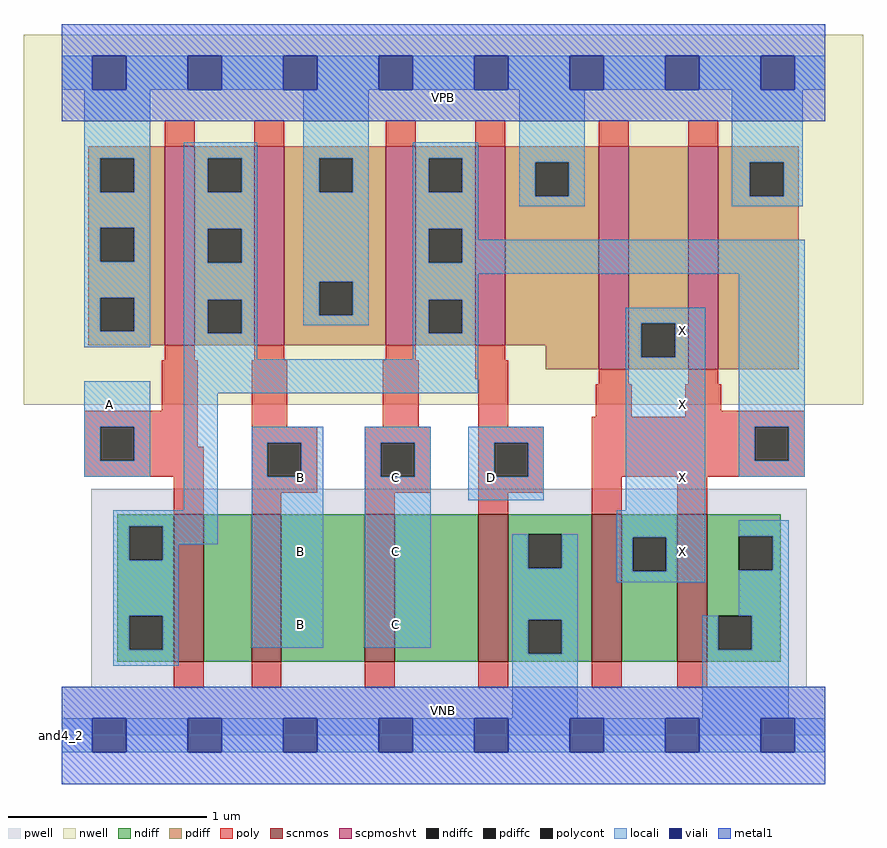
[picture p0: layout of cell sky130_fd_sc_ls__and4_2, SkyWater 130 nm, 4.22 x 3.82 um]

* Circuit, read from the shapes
.subckt sky130_fd_sc_ls__and4_2 A B C D VGND VNB VPB VPWR X
XM1 n1 A n2 VNB sky130_fd_pr__nfet_01v8 w=0.74 l=0.15
XM2 n3 B n1 VNB sky130_fd_pr__nfet_01v8 w=0.74 l=0.15
XM3 n4 C n3 VNB sky130_fd_pr__nfet_01v8 w=0.74 l=0.15
XM4 VGND D n4 VNB sky130_fd_pr__nfet_01v8 w=0.74 l=0.15
XM5 X n2 VGND VNB sky130_fd_pr__nfet_01v8 w=0.74 l=0.15 m=2
XM6 n2 A VPWR VPB sky130_fd_pr__pfet_01v8_hvt w=1 l=0.15
XM7 VPWR B n2 VPB sky130_fd_pr__pfet_01v8_hvt w=1 l=0.15
XM8 n2 C VPWR VPB sky130_fd_pr__pfet_01v8_hvt w=1 l=0.15
XM9 VPWR D n2 VPB sky130_fd_pr__pfet_01v8_hvt w=1 l=0.15
XM10 X n2 VPWR VPB sky130_fd_pr__pfet_01v8_hvt w=1.12 l=0.15 m=2
.ends

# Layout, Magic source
magic
tech sky130A
magscale 1 2
<< nwell >>
rect -38 332 806 704
<< pwell >>
rect 30 49 749 248
rect 0 0 768 49
<< scnmos >>
rect 113 74 143 222
rect 191 74 221 222
rect 305 74 335 222
rect 419 74 449 222
rect 533 74 563 222
rect 619 74 649 222
<< scpmoshvt >>
rect 104 392 134 592
rect 194 392 224 592
rect 326 392 356 592
rect 416 392 446 592
rect 540 368 570 592
rect 630 368 660 592
<< ndiff >>
rect 56 210 113 222
rect 56 176 68 210
rect 102 176 113 210
rect 56 120 113 176
rect 56 86 68 120
rect 102 86 113 120
rect 56 74 113 86
rect 143 74 191 222
rect 221 74 305 222
rect 335 74 419 222
rect 449 202 533 222
rect 449 168 469 202
rect 503 168 533 202
rect 449 116 533 168
rect 449 82 469 116
rect 503 82 533 116
rect 449 74 533 82
rect 563 199 619 222
rect 563 165 574 199
rect 608 165 619 199
rect 563 74 619 165
rect 649 200 723 222
rect 649 166 681 200
rect 715 166 723 200
rect 649 120 723 166
rect 649 86 660 120
rect 694 86 723 120
rect 649 74 723 86
<< pdiff >>
rect 27 580 104 592
rect 27 546 39 580
rect 73 546 104 580
rect 27 510 104 546
rect 27 476 39 510
rect 73 476 104 510
rect 27 440 104 476
rect 27 406 39 440
rect 73 406 104 440
rect 27 392 104 406
rect 134 580 194 592
rect 134 546 147 580
rect 181 546 194 580
rect 134 509 194 546
rect 134 475 147 509
rect 181 475 194 509
rect 134 438 194 475
rect 134 404 147 438
rect 181 404 194 438
rect 134 392 194 404
rect 224 580 326 592
rect 224 546 259 580
rect 293 546 326 580
rect 224 456 326 546
rect 224 422 259 456
rect 293 422 326 456
rect 224 392 326 422
rect 356 580 416 592
rect 356 546 369 580
rect 403 546 416 580
rect 356 509 416 546
rect 356 475 369 509
rect 403 475 416 509
rect 356 438 416 475
rect 356 404 369 438
rect 403 404 416 438
rect 356 392 416 404
rect 446 576 540 592
rect 446 542 476 576
rect 510 542 540 576
rect 446 392 540 542
rect 487 368 540 392
rect 570 414 630 592
rect 570 380 583 414
rect 617 380 630 414
rect 570 368 630 380
rect 660 576 741 592
rect 660 542 692 576
rect 726 542 741 576
rect 660 368 741 542
<< ndiffc >>
rect 68 176 102 210
rect 68 86 102 120
rect 469 168 503 202
rect 469 82 503 116
rect 574 165 608 199
rect 681 166 715 200
rect 660 86 694 120
<< pdiffc >>
rect 39 546 73 580
rect 39 476 73 510
rect 39 406 73 440
rect 147 546 181 580
rect 147 475 181 509
rect 147 404 181 438
rect 259 546 293 580
rect 259 422 293 456
rect 369 546 403 580
rect 369 475 403 509
rect 369 404 403 438
rect 476 542 510 576
rect 583 380 617 414
rect 692 542 726 576
<< poly >>
rect 104 592 134 618
rect 194 592 224 618
rect 326 592 356 618
rect 416 592 446 618
rect 540 592 570 618
rect 630 592 660 618
rect 104 377 134 392
rect 194 377 224 392
rect 326 377 356 392
rect 416 377 446 392
rect 101 326 137 377
rect 23 310 137 326
rect 23 276 39 310
rect 73 290 137 310
rect 191 310 227 377
rect 323 310 359 377
rect 416 358 449 377
rect 419 310 449 358
rect 540 353 570 368
rect 630 353 660 368
rect 537 320 573 353
rect 627 326 663 353
rect 627 320 747 326
rect 533 310 747 320
rect 191 294 257 310
rect 73 276 143 290
rect 23 260 143 276
rect 113 222 143 260
rect 191 260 207 294
rect 241 260 257 294
rect 191 244 257 260
rect 305 294 371 310
rect 305 260 321 294
rect 355 260 371 294
rect 305 244 371 260
rect 419 294 485 310
rect 419 260 435 294
rect 469 260 485 294
rect 419 244 485 260
rect 533 276 697 310
rect 731 276 747 310
rect 533 260 747 276
rect 191 222 221 244
rect 305 222 335 244
rect 419 222 449 244
rect 533 222 563 260
rect 619 222 649 260
rect 113 48 143 74
rect 191 48 221 74
rect 305 48 335 74
rect 419 48 449 74
rect 533 48 563 74
rect 619 48 649 74
<< polycont >>
rect 39 276 73 310
rect 207 260 241 294
rect 321 260 355 294
rect 435 260 469 294
rect 697 276 731 310
<< locali >>
rect 0 649 31 683
rect 65 649 127 683
rect 161 649 223 683
rect 257 649 319 683
rect 353 649 415 683
rect 449 649 511 683
rect 545 649 607 683
rect 641 649 703 683
rect 737 649 768 683
rect 23 580 89 649
rect 23 546 39 580
rect 73 546 89 580
rect 23 510 89 546
rect 23 476 39 510
rect 73 476 89 510
rect 23 440 89 476
rect 23 406 39 440
rect 73 406 89 440
rect 23 390 89 406
rect 123 580 197 596
rect 123 546 147 580
rect 181 546 197 580
rect 123 509 197 546
rect 123 475 147 509
rect 181 475 197 509
rect 123 438 197 475
rect 123 404 147 438
rect 181 404 197 438
rect 243 580 309 649
rect 243 546 259 580
rect 293 546 309 580
rect 243 456 309 546
rect 243 422 259 456
rect 293 422 309 456
rect 243 412 309 422
rect 353 580 419 596
rect 353 546 369 580
rect 403 546 419 580
rect 353 509 419 546
rect 460 576 526 649
rect 460 542 476 576
rect 510 542 526 576
rect 460 532 526 542
rect 674 576 745 649
rect 674 542 692 576
rect 726 542 745 576
rect 674 532 745 542
rect 353 475 369 509
rect 403 498 419 509
rect 403 475 747 498
rect 353 464 747 475
rect 353 438 419 464
rect 123 378 197 404
rect 353 404 369 438
rect 403 404 419 438
rect 353 378 419 404
rect 23 310 89 356
rect 23 276 39 310
rect 73 276 89 310
rect 23 260 89 276
rect 123 344 419 378
rect 567 414 647 430
rect 567 380 583 414
rect 617 380 647 414
rect 123 226 157 344
rect 52 210 157 226
rect 52 176 68 210
rect 102 192 157 210
rect 191 294 263 310
rect 191 260 207 294
rect 241 260 263 294
rect 102 176 118 192
rect 52 120 118 176
rect 52 86 68 120
rect 102 86 118 120
rect 191 88 263 260
rect 305 294 371 310
rect 305 260 321 294
rect 355 260 371 294
rect 305 88 371 260
rect 409 294 485 310
rect 409 260 435 294
rect 469 260 485 294
rect 409 236 485 260
rect 567 226 647 380
rect 681 310 747 464
rect 681 276 697 310
rect 731 276 747 310
rect 681 260 747 276
rect 453 168 469 202
rect 503 168 519 202
rect 453 116 519 168
rect 558 199 647 226
rect 558 165 574 199
rect 608 165 647 199
rect 558 154 647 165
rect 681 200 731 216
rect 715 166 731 200
rect 681 120 731 166
rect 52 70 118 86
rect 453 82 469 116
rect 503 82 519 116
rect 453 17 519 82
rect 644 86 660 120
rect 694 86 731 120
rect 644 17 731 86
rect 0 -17 31 17
rect 65 -17 127 17
rect 161 -17 223 17
rect 257 -17 319 17
rect 353 -17 415 17
rect 449 -17 511 17
rect 545 -17 607 17
rect 641 -17 703 17
rect 737 -17 768 17
<< viali >>
rect 31 649 65 683
rect 127 649 161 683
rect 223 649 257 683
rect 319 649 353 683
rect 415 649 449 683
rect 511 649 545 683
rect 607 649 641 683
rect 703 649 737 683
rect 31 -17 65 17
rect 127 -17 161 17
rect 223 -17 257 17
rect 319 -17 353 17
rect 415 -17 449 17
rect 511 -17 545 17
rect 607 -17 641 17
rect 703 -17 737 17
<< metal1 >>
rect 0 683 768 715
rect 0 649 31 683
rect 65 649 127 683
rect 161 649 223 683
rect 257 649 319 683
rect 353 649 415 683
rect 449 649 511 683
rect 545 649 607 683
rect 641 649 703 683
rect 737 649 768 683
rect 0 617 768 649
rect 0 17 768 49
rect 0 -17 31 17
rect 65 -17 127 17
rect 161 -17 223 17
rect 257 -17 319 17
rect 353 -17 415 17
rect 449 -17 511 17
rect 545 -17 607 17
rect 641 -17 703 17
rect 737 -17 768 17
rect 0 -49 768 -17
<< labels >>
rlabel comment s 0 0 0 0 4 and4_2
flabel pwell s 0 0 768 49 0 FreeSans 200 0 0 0 VNB
port 6 nsew ground bidirectional
flabel nwell s 0 617 768 666 0 FreeSans 200 0 0 0 VPB
port 7 nsew power bidirectional
flabel metal1 s 0 617 768 666 0 FreeSans 340 0 0 0 VPWR
port 8 nsew power bidirectional abutment
flabel metal1 s 0 0 768 49 0 FreeSans 340 0 0 0 VGND
port 5 nsew ground bidirectional abutment
flabel locali s 415 242 449 276 0 FreeSans 340 0 0 0 D
port 4 nsew signal input
flabel locali s 319 94 353 128 0 FreeSans 340 0 0 0 C
port 3 nsew signal input
flabel locali s 319 168 353 202 0 FreeSans 340 0 0 0 C
port 3 nsew signal input
flabel locali s 319 242 353 276 0 FreeSans 340 0 0 0 C
port 3 nsew signal input
flabel locali s 223 94 257 128 0 FreeSans 340 0 0 0 B
port 2 nsew signal input
flabel locali s 223 168 257 202 0 FreeSans 340 0 0 0 B
port 2 nsew signal input
flabel locali s 223 242 257 276 0 FreeSans 340 0 0 0 B
port 2 nsew signal input
flabel locali s 31 316 65 350 0 FreeSans 340 0 0 0 A
port 1 nsew signal input
flabel locali s 607 168 641 202 0 FreeSans 340 0 0 0 X
port 9 nsew signal output
flabel locali s 607 242 641 276 0 FreeSans 340 0 0 0 X
port 9 nsew signal output
flabel locali s 607 316 641 350 0 FreeSans 340 0 0 0 X
port 9 nsew signal output
flabel locali s 607 390 641 424 0 FreeSans 340 0 0 0 X
port 9 nsew signal output
<< properties >>
string LEFsite unit
string LEFclass CORE
string FIXED_BBOX 0 0 768 666
string GDS_FILE $PDKPATH/libs.ref/sky130_fd_sc_ls/gds/sky130_fd_sc_ls.gds
string LEFsymmetry X Y
string GDS_END 4169496
string GDS_START 4162292
<< end >>
